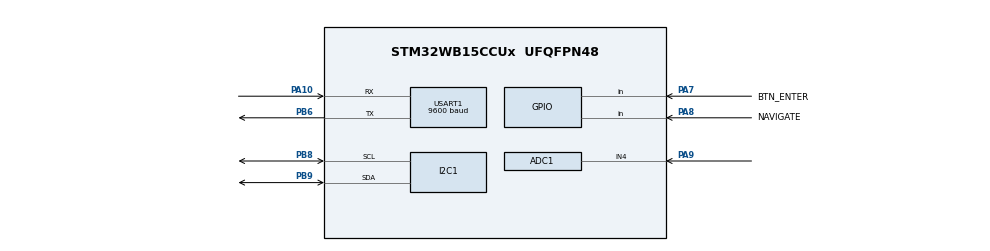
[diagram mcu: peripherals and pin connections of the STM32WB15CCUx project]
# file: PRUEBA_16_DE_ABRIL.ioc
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ADC1.Channel-0\#ChannelRegularConversion=ADC_CHANNEL_4
ADC1.NbrOfConversionFlag=1
ADC1.Rank-0\#ChannelRegularConversion=1
ADC1.SamplingTime-0\#ChannelRegularConversion=ADC_SAMPLINGTIME_COMMON_1
ADC1.SelectedChannel=ADC_CHANNEL_4
ADC1.master=1
I2C1.Timing=0x10805D88
Mcu.Family=STM32WB
Mcu.Name=STM32WB15CCUx
Mcu.Package=UFQFPN48
NVIC.PriorityGroup=NVIC_PRIORITYGROUP_4
NVIC.USART1_IRQn=true\:0\:0\:false\:false\:true\:true\:true\:true
PA10.Mode=Asynchronous
PA10.Signal=USART1_RX
PA7.GPIO_Label=BTN_ENTER
PA7.GPIO_PuPd=GPIO_NOPULL
PA7.Signal=GPIO_Input
PA8.GPIO_Label=NAVIGATE
PA8.GPIO_PuPd=GPIO_NOPULL
PA8.Signal=GPIO_Input
PA9.Signal=ADCx_IN4
PB6.Mode=Asynchronous
PB6.Signal=USART1_TX
PB8.Mode=I2C
PB8.Signal=I2C1_SCL
PB9.Mode=I2C
PB9.Signal=I2C1_SDA
ProjectManager.HeapSize=0x200
ProjectManager.StackSize=0x400
ProjectManager.TargetToolchain=STM32CubeIDE
RCC.AHB2CLKDivider=RCC_SYSCLK_DIV2
RCC.AHBFreq_Value=48000000
RCC.APB1Freq_Value=48000000
RCC.APB1TimFreq_Value=48000000
RCC.APB2Freq_Value=48000000
RCC.APB2TimFreq_Value=48000000
RCC.APB3Freq_Value=16000000
RCC.CortexFreq_Value=48000000
RCC.HCLKFreq_Value=48000000
RCC.HSE_VALUE=8000000
RCC.HSI_VALUE=16000000
RCC.LSE_VALUE=32768
RCC.PLLN=24
RCC.SYSCLKFreq_VALUE=48000000
RCC.SYSCLKSource=RCC_SYSCLKSOURCE_PLLCLK
RCC.VCOOutputFreq_Value=96000000
SH.ADCx_IN4.0=ADC1_IN4,IN4-Single-Ended
USART1.BaudRate=9600
USART1.VirtualMode-Asynchronous=VM_ASYNC
VP_MEMORYMAP_VS_MEMORYMAP.Mode=CurAppReg
board=custom

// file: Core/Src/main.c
/* USER CODE BEGIN Header */
/**
  ******************************************************************************
  * @file           : main.c
  * @brief          : Main program body
  ******************************************************************************
  * @attention
  *
  * Copyright (c) 2026 STMicroelectronics.
  * All rights reserved.
  *
  * This software is licensed under terms that can be found in the LICENSE file
  * in the root directory of this software component.
  * If no LICENSE file comes with this software, it is provided AS-IS.
  *
  ******************************************************************************
  */
/* USER CODE END Header */
#include "main.h"

/* USER CODE BEGIN Includes */
#include "Display_Oled/Display_Comands.h"
#include "Display_Oled/Display_Bitmaps.h"
#include "Menu/Menu.h"
#include "BatteryMonitor.h"
#include "GPS.h"
#include "ICM20948.h"
/* USER CODE END Includes */

ADC_HandleTypeDef hadc1;

I2C_HandleTypeDef hi2c1;

UART_HandleTypeDef huart1;

/* USER CODE BEGIN PV */

/* GPS module */
Gps_Handle_t hgps;

/* Menu system */
Menu_Handle_t hmenu;

/* Battery monitor BQ27441 */
BatGauge_Data_t bat_data;
uint16_t        bat_adc_raw;
uint32_t        bat_adc_mV;
HAL_StatusTypeDef bat_st;

/* ICM-20948 9-axis IMU */
ICM20948_t         icm;
ICM20948_Data_t    icm_data;
ICM20948_Status_e  icm_init_status;
ICM20948_Status_e  icm_cal_status;
ICM20948_Status_e  icm_read_status;
uint8_t            icm_who_am_i;
uint32_t           icm_last_read_ms;

/* ---- Auxiliary variables ---- */
uint8_t i2c_scan_addr[10];
uint16_t cont_uart=0;
uint8_t rx;

/* GPS tracking test */
#define GPS_TRACKING_WINDOW_MS   30000U   /* active session duration  */
#define GPS_TRACKING_UPDATE_MS    3000U   /* Gps_UpdateTracking period */
#define GPS_TRACKING_PAUSE_MS     5000U   /* blocking pause between sessions */
static uint32_t track_session_start_ms = 0U;
static uint32_t track_last_update_ms   = 0U;

/* USER CODE END PV */

void SystemClock_Config(void);
void PeriphCommonClock_Config(void);
static void MX_GPIO_Init(void);
static void MX_I2C1_Init(void);
static void MX_USART1_UART_Init(void);
static void MX_ADC1_Init(void);
/* USER CODE BEGIN PFP */
uint8_t I2C_Scan(I2C_HandleTypeDef *hi2c, uint8_t *addr_buf, uint8_t buf_size);
/* USER CODE END PFP */

int main(void)
{

  /* MCU Configuration--------------------------------------------------------*/

  /* Reset of all peripherals, Initializes the Flash interface and the Systick. */
  HAL_Init();

  /* Configure the system clock */
  SystemClock_Config();

  /* Configure the peripherals common clocks */
  PeriphCommonClock_Config();

  /* Initialize all configured peripherals */
  MX_GPIO_Init();
  MX_I2C1_Init();
  MX_USART1_UART_Init();
  MX_ADC1_Init();
  /* USER CODE BEGIN 2 */

  /*Auxiliary functions */
  I2C_Scan(&hi2c1, i2c_scan_addr, 10);

  /* Battery monitor BQ27441 — auto-configures if ITPOR is set */
  bat_st = BatGauge_Init();
  HAL_Delay(1000);

  /* Menu system */
  Menu_Init(&hmenu);
  ssd1306_begin(SSD1306_SWITCHCAPVCC, SSD1306_I2C_ADDRESS);

  /* GPS module */
  Gps_Init(&hgps);
  Gps_SendMTK(&hgps, GPS_OUTPUT_RMC_GGA);
  Gps_SendMTK(&hgps, GPS_FIX_0_5HZ);
  HAL_Delay(200);
  /*Tracking test, init of tracking*/
  Gps_StartTracking(&hgps);
  track_session_start_ms = HAL_GetTick();
  track_last_update_ms   = track_session_start_ms;
  HAL_Delay(200);

  /* ICM-20948 9-axis IMU (I2C1) — keep the board still until calibration ends */
  icm_init_status = ICM20948_Init(&icm);
  ICM20948_WhoAmI(&icm, &icm_who_am_i);
  if (icm_init_status == ICM20948_OK) {
      icm_cal_status = ICM20948_CalibrateGyroBias(&icm);
  }

  /* USER CODE END 2 */

  /* Infinite loop */
  while (1)
  {

    /* USER CODE BEGIN 3 */

	    /* ============================================================
	     *  GPS MODULE
	     * ============================================================ */
		/*Get and process all data */
//	    Gps_Process(&hgps);
//
//	    /* ---- Tracking: 30-s session → stop → 5-s pause → restart ---- */
//	    uint32_t now = HAL_GetTick();
//
//	    /* Call Gps_UpdateTracking every 3 s while the session is active */
//	    if (hgps.tracking_active) {
//	        if ((now - track_last_update_ms) >= GPS_TRACKING_UPDATE_MS) {
//	            Gps_UpdateTracking(&hgps);
//	            track_last_update_ms = now;
//	        }
//
//	        /* End of 30-s window */
//	        if ((now - track_session_start_ms) >= GPS_TRACKING_WINDOW_MS) {
//	            Gps_StopTracking(&hgps);
//	            HAL_Delay(GPS_TRACKING_PAUSE_MS);   /* 5-s blocking pause */
//	            Gps_StartTracking(&hgps);
//	            track_session_start_ms = HAL_GetTick();
//	            track_last_update_ms   = track_session_start_ms;
//	        }
//	    }

	/* ============================================================
	 *  MENU SYSTEM — Poll buttons and update display
	 * ============================================================ */
//    Menu_Poll(&hmenu);
//    Menu_Update(&hmenu);

	/* ============================================================
	 *  BATTERY MONITOR (BQ27441 + ADC POT)
	 * ============================================================ */
	    static uint32_t bat_last_tick = 0U;
	    if ((HAL_GetTick() - bat_last_tick) >= 3000U) {
	        bat_last_tick = HAL_GetTick();
	        BatGauge_Update(&bat_data);
	    }

//    /* ============================================================
//     *  ICM-20948 9-AXIS IMU
//     * ============================================================ */
//	  icm_read_status  = ICM20948_ReadAll(&icm, &icm_data);
//	  HAL_Delay(1);
//
  }
  /* USER CODE END 3 */
}

void SystemClock_Config(void)
{
  RCC_OscInitTypeDef RCC_OscInitStruct = {0};
  RCC_ClkInitTypeDef RCC_ClkInitStruct = {0};

  /** Initializes the RCC Oscillators according to the specified parameters
  * in the RCC_OscInitTypeDef structure.
  */
  RCC_OscInitStruct.OscillatorType = RCC_OSCILLATORTYPE_HSI|RCC_OSCILLATORTYPE_MSI;
  RCC_OscInitStruct.HSIState = RCC_HSI_ON;
  RCC_OscInitStruct.MSIState = RCC_MSI_ON;
  RCC_OscInitStruct.HSICalibrationValue = RCC_HSICALIBRATION_DEFAULT;
  RCC_OscInitStruct.MSICalibrationValue = RCC_MSICALIBRATION_DEFAULT;
  RCC_OscInitStruct.MSIClockRange = RCC_MSIRANGE_6;
  RCC_OscInitStruct.PLL.PLLState = RCC_PLL_ON;
  RCC_OscInitStruct.PLL.PLLSource = RCC_PLLSOURCE_MSI;
  RCC_OscInitStruct.PLL.PLLM = RCC_PLLM_DIV1;
  RCC_OscInitStruct.PLL.PLLN = 24;
  RCC_OscInitStruct.PLL.PLLP = RCC_PLLP_DIV2;
  RCC_OscInitStruct.PLL.PLLR = RCC_PLLR_DIV2;
  RCC_OscInitStruct.PLL.PLLQ = RCC_PLLQ_DIV2;
  if (HAL_RCC_OscConfig(&RCC_OscInitStruct) != HAL_OK)
  {
    Error_Handler();
  }

  /** Configure the SYSCLKSource, HCLK, PCLK1 and PCLK2 clocks dividers
  */
  RCC_ClkInitStruct.ClockType = RCC_CLOCKTYPE_HCLK4|RCC_CLOCKTYPE_HCLK2
                              |RCC_CLOCKTYPE_HCLK|RCC_CLOCKTYPE_SYSCLK
                              |RCC_CLOCKTYPE_PCLK1|RCC_CLOCKTYPE_PCLK2;
  RCC_ClkInitStruct.SYSCLKSource = RCC_SYSCLKSOURCE_PLLCLK;
  RCC_ClkInitStruct.AHBCLKDivider = RCC_SYSCLK_DIV1;
  RCC_ClkInitStruct.APB1CLKDivider = RCC_HCLK_DIV1;
  RCC_ClkInitStruct.APB2CLKDivider = RCC_HCLK_DIV1;
  RCC_ClkInitStruct.AHBCLK2Divider = RCC_SYSCLK_DIV2;
  RCC_ClkInitStruct.AHBCLK4Divider = RCC_SYSCLK_DIV1;

  if (HAL_RCC_ClockConfig(&RCC_ClkInitStruct, FLASH_LATENCY_2) != HAL_OK)
  {
    Error_Handler();
  }
}

void PeriphCommonClock_Config(void)
{
  RCC_PeriphCLKInitTypeDef PeriphClkInitStruct = {0};

  /** Initializes the peripherals clock
  */
  PeriphClkInitStruct.PeriphClockSelection = RCC_PERIPHCLK_SMPS;
  PeriphClkInitStruct.SmpsClockSelection = RCC_SMPSCLKSOURCE_HSI;
  PeriphClkInitStruct.SmpsDivSelection = RCC_SMPSCLKDIV_RANGE1;

  if (HAL_RCCEx_PeriphCLKConfig(&PeriphClkInitStruct) != HAL_OK)
  {
    Error_Handler();
  }
}

static void MX_ADC1_Init(void)
{

  ADC_ChannelConfTypeDef sConfig = {0};

  /** Common config
  */
  hadc1.Instance = ADC1;
  hadc1.Init.ClockPrescaler = ADC_CLOCK_ASYNC_DIV1;
  hadc1.Init.Resolution = ADC_RESOLUTION_12B;
  hadc1.Init.DataAlign = ADC_DATAALIGN_RIGHT;
  hadc1.Init.ScanConvMode = ADC_SCAN_DISABLE;
  hadc1.Init.EOCSelection = ADC_EOC_SINGLE_CONV;
  hadc1.Init.SamplingTimeCommon1 = ADC_SAMPLETIME_1CYCLE_5;
  hadc1.Init.SamplingTimeCommon2 = ADC_SAMPLETIME_1CYCLE_5;
  hadc1.Init.LowPowerAutoWait = DISABLE;
  hadc1.Init.ContinuousConvMode = DISABLE;
  hadc1.Init.NbrOfConversion = 1;
  hadc1.Init.DiscontinuousConvMode = DISABLE;
  hadc1.Init.ExternalTrigConv = ADC_SOFTWARE_START;
  hadc1.Init.ExternalTrigConvEdge = ADC_EXTERNALTRIGCONVEDGE_NONE;
  hadc1.Init.DMAContinuousRequests = DISABLE;
  hadc1.Init.Overrun = ADC_OVR_DATA_PRESERVED;
  if (HAL_ADC_Init(&hadc1) != HAL_OK)
  {
    Error_Handler();
  }

  /** Configure Regular Channel
  */
  sConfig.Channel = ADC_CHANNEL_4;
  sConfig.Rank = ADC_REGULAR_RANK_1;
  sConfig.SamplingTime = ADC_SAMPLINGTIME_COMMON_1;
  if (HAL_ADC_ConfigChannel(&hadc1, &sConfig) != HAL_OK)
  {
    Error_Handler();
  }

}

static void MX_I2C1_Init(void)
{

  hi2c1.Instance = I2C1;
  hi2c1.Init.Timing = 0x10805D88;
  hi2c1.Init.OwnAddress1 = 0;
  hi2c1.Init.AddressingMode = I2C_ADDRESSINGMODE_7BIT;
  hi2c1.Init.DualAddressMode = I2C_DUALADDRESS_DISABLE;
  hi2c1.Init.OwnAddress2 = 0;
  hi2c1.Init.OwnAddress2Masks = I2C_OA2_NOMASK;
  hi2c1.Init.GeneralCallMode = I2C_GENERALCALL_DISABLE;
  hi2c1.Init.NoStretchMode = I2C_NOSTRETCH_DISABLE;
  if (HAL_I2C_Init(&hi2c1) != HAL_OK)
  {
    Error_Handler();
  }

  /** Configure Analogue filter
  */
  if (HAL_I2CEx_ConfigAnalogFilter(&hi2c1, I2C_ANALOGFILTER_ENABLE) != HAL_OK)
  {
    Error_Handler();
  }

  /** Configure Digital filter
  */
  if (HAL_I2CEx_ConfigDigitalFilter(&hi2c1, 0) != HAL_OK)
  {
    Error_Handler();
  }

}

static void MX_USART1_UART_Init(void)
{

  huart1.Instance = USART1;
  huart1.Init.BaudRate = 9600;
  huart1.Init.WordLength = UART_WORDLENGTH_8B;
  huart1.Init.StopBits = UART_STOPBITS_1;
  huart1.Init.Parity = UART_PARITY_NONE;
  huart1.Init.Mode = UART_MODE_TX_RX;
  huart1.Init.HwFlowCtl = UART_HWCONTROL_NONE;
  huart1.Init.OverSampling = UART_OVERSAMPLING_16;
  huart1.Init.OneBitSampling = UART_ONE_BIT_SAMPLE_DISABLE;
  huart1.Init.ClockPrescaler = UART_PRESCALER_DIV1;
  huart1.AdvancedInit.AdvFeatureInit = UART_ADVFEATURE_NO_INIT;
  if (HAL_UART_Init(&huart1) != HAL_OK)
  {
    Error_Handler();
  }
  if (HAL_UARTEx_SetTxFifoThreshold(&huart1, UART_TXFIFO_THRESHOLD_1_8) != HAL_OK)
  {
    Error_Handler();
  }
  if (HAL_UARTEx_SetRxFifoThreshold(&huart1, UART_RXFIFO_THRESHOLD_1_8) != HAL_OK)
  {
    Error_Handler();
  }
  if (HAL_UARTEx_DisableFifoMode(&huart1) != HAL_OK)
  {
    Error_Handler();
  }

}

static void MX_GPIO_Init(void)
{
  GPIO_InitTypeDef GPIO_InitStruct = {0};

  /* GPIO Ports Clock Enable */
  __HAL_RCC_GPIOB_CLK_ENABLE();
  __HAL_RCC_GPIOA_CLK_ENABLE();

  /*Configure GPIO pins : BTN_ENTER_Pin NAVIGATE_Pin */
  GPIO_InitStruct.Pin = BTN_ENTER_Pin|NAVIGATE_Pin;
  GPIO_InitStruct.Mode = GPIO_MODE_INPUT;
  GPIO_InitStruct.Pull = GPIO_NOPULL;
  HAL_GPIO_Init(GPIOA, &GPIO_InitStruct);

}

/* USER CODE BEGIN 4 */
void HAL_UART_RxCpltCallback(UART_HandleTypeDef *huart) {
	/* RS485 reception */
//    if (huart->Instance == huart1.Instance) {
//        RS485_StoreByte(&frame_rx);
//
//        /* Re-arm interrupt for next byte */
//        HAL_UART_Receive_IT(&huart1, &frame_rx.rx_byte, 1U);
//    }

    /* LoRa reception */
//    if (huart->Instance == LORA_UART->Instance) {
//        Lora_StoreByte(&hlora);
//    }

    /* GPS reception */
    if (huart->Instance == GPS_UART->Instance) {
        Gps_StoreByte(&hgps);
    }

    /* Bluetooth reception */
//    if (huart->Instance == BT_UART->Instance) {
//        Bt_StoreByte(&hbt);
//    }
}
/**
 * @brief  Scans all 7-bit I2C addresses and stores responding ones.
 * @param  hi2c      I2C handle to scan on.
 * @param  addr_buf  Buffer to store found addresses (7-bit, not shifted).
 * @param  buf_size  Max number of addresses to store.
 * @return Number of devices found.
 */
uint8_t I2C_Scan(I2C_HandleTypeDef *hi2c, uint8_t *addr_buf, uint8_t buf_size)
{
    uint8_t count = 0U;

    for (uint8_t addr = 1U; addr < 128U; addr++) {
        if (HAL_I2C_IsDeviceReady(hi2c, (uint16_t)(addr << 1), 1, 10) == HAL_OK) {
            if (count < buf_size) {
                addr_buf[count] = addr;
            }
            count++;
        }
    }
    return count;
}
/* USER CODE END 4 */

void Error_Handler(void)
{
  __disable_irq();
  while (1)
  {
  }
}
